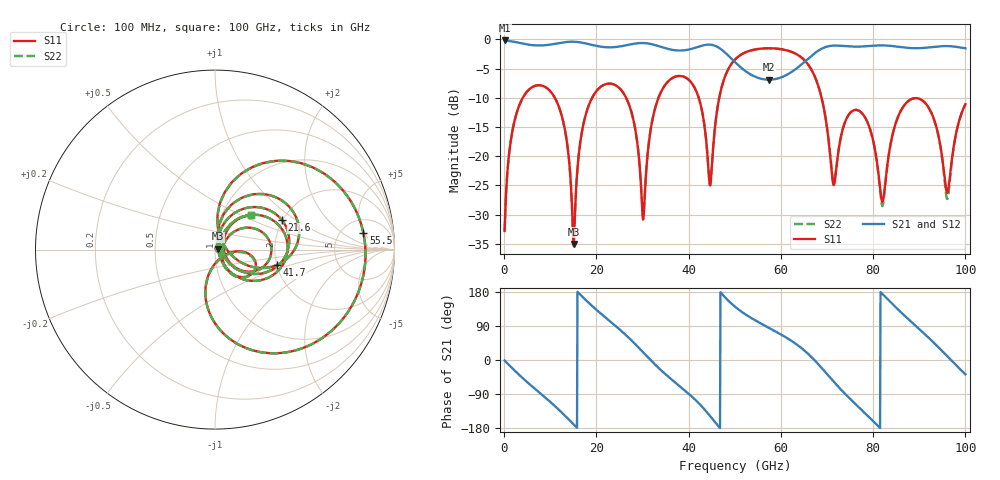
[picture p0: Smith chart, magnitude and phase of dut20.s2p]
! Touchstone file exported from HFSS 2026.1.0
!  File:  C:/ffzhzh/LocalFiles/Ansys_Project_Files/temp_train_TSV_RDL_20_1783614697_33328.aedt
!  Generated:  12:38:45 AM Jul 10, 2026
!  Design:  TSV_RDL
!  Project:  temp_train_TSV_RDL_20_1783614697_33328
! Variables:
!  h_bsmrdl = 3.07um
!  h_ox = 20um
!  h_rdl = 5um
!  h_sub = 70.5um
!  h_tmrdl = 2.61um
!  h_tsv = 70.5um
!  h_via = 3um
!  l_bsmrdl = 153.57um
!  l_sub = 3726.66um
!  l_tmrdl = 685.1um
!  m_sub = 200um
!  pitch = 42.44um
!  r_tsv = 12.28um
!  s_tmrdl = 10um
!  w_bsmrdl = 19.2um
!  w_sub = 500um
!  w_tmrdl = 22.65um
!  x_tsv_center1 = 696.425um
!  x_tsv_center2 = 869.195um
!  x_tsv_center3 = 1576.945um
!  x_tsv_center4 = 1749.715um
!  x_tsv_center5 = 2457.465um
!  x_tsv_center6 = 2630.235um
# GHz S MA R 50.000000
! Terminal data exported
! Port[1] = TM_RDL1_1_T1
! Port[2] = TM_RDL5_1_T1
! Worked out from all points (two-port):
!   1000 points, 100 MHz to 100 GHz, reference 50 ohm
!   highest |S21| = -0.18 dB at 100 MHz (marker M1); lowest = -6.9 dB at 57.4 GHz (marker M2)
!   |S21| within 3 dB of the highest: start of sweep to 49.13 GHz; 66.09 GHz to end of sweep
!   lowest |S11| = -35.1 dB at 15.1 GHz (marker M3), VSWR 1.04, Z = 51.7 + j0.575 ohm
!   |S11| at or under -10 dB: 10.98 GHz to 19.07 GHz (8.094 GHz wide, 53.9 % of centre); 26.44 GHz to 33.47 GHz (7.023 GHz wide, 23.4 % of centre); 68.82 GHz to end of sweep (the widest 3 of 5)
!   |S22| runs from -35.4 to -1.5 dB; largest |S21 - S12| = 3.2e-14
!   S11 on the Smith chart (normalised r, x): 100 MHz: 1.04, +0.02; 21.6 GHz: 1.99, +0.78; 41.7 GHz: 2.01, -0.39; 55.5 GHz: 8.06, +4.77; 100 GHz: 1.37, +0.57
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0.1  0.02285 27.1  0.9798 -1.3  0.9798 -1.3  0.02285 27.1
! Gamma 0 0 0 0
! Port Impedance 50 0 50 0
2.5  0.2192 52.5  0.9487 -30.5  0.9487 -30.5  0.2192 52.5
7.6  0.4052 2.0  0.8872 -85.5  0.8872 -85.5  0.4052 2.0
12.6  0.2131 -48.4  0.9407 -139.9  0.9407 -139.9  0.2131 -48.6
15.1  0.01765 18.4  0.9552 -170.4  0.9552 -170.4  0.01693 18.5
16.8  0.1565 70.7  0.9387 168.9  0.9387 168.9  0.1563 71.0
21.6  0.4079 23.6  0.8606 115.9  0.8606 115.9  0.4078 23.7
27.2  0.2677 -30.6  0.9039 56.5  0.9039 56.5  0.2677 -30.2
30.1  0.02857 11.6  0.9315 20.8  0.9315 20.8  0.03065 12.4
33.4  0.3113 64.4  0.8782 -20.0  0.8782 -20.0  0.3116 64.0
41.7  0.3562 -13.9  0.8553 -108.0  0.8553 -108.0  0.3565 -13.9
44.7  0.05625 36.8  0.902 -148.6  0.902 -148.6  0.05719 36.4
50.1  0.6757 45.6  0.6364 140.2  0.6364 140.2  0.6759 45.4
55.5  0.8321 6.3  0.4628 97.5  0.4628 97.5  0.8322 6.1
57.4  0.8399 -5.3  0.4519 85.0  0.4519 85.0  0.84 -5.5
66.7  0.543 -76.3  0.7272 6.9  0.7272 6.9  0.5432 -76.3
71.4  0.05665 -57.6  0.8853 -56.8  0.8853 -56.8  0.05976 -57.6
74.2  0.2085 -10.1  0.8737 -92.8  0.8737 -92.8  0.2092 -11.3
83.4  0.1038 43.9  0.8839 157.2  0.8839 157.2  0.1026 44.8
91  0.2928 -16.9  0.8466 70.5  0.8466 70.5  0.2925 -17.8
96.1  0.04854 11.0  0.8773 9.6  0.8773 9.6  0.04287 10.9
100  0.2785 43.8  0.8396 -37.8  0.8396 -37.8  0.2775 44.4
